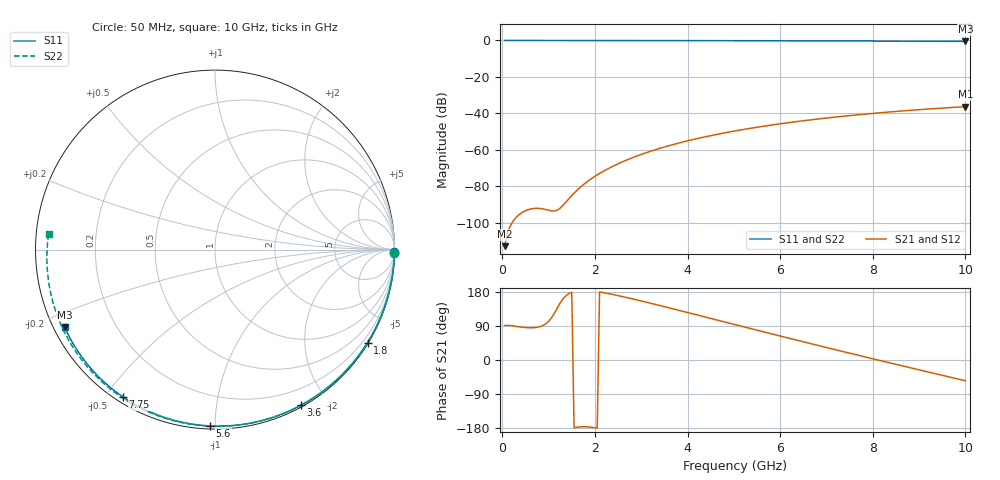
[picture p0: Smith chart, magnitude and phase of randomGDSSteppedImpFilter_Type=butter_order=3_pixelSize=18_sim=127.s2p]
! freq	dB(S11)	phase(S11)	dB(S12)	phase(S12)
!  dB(S21)	phase(S21)	dB(S22)	phase(S22)
!S-par simulation data
#  GHz  S  DB  R 50
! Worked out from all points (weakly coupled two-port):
!   200 points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, 50 MHz to 10 GHz, reference 50 ohm
!   highest |S21| = -36.31 dB at 10 GHz (marker M1); lowest = -112.8 dB at 50 MHz (marker M2)
!   lowest |S11| = -0.5 dB at 10 GHz (marker M3), VSWR 33.67, Z = 1.57 - j12.1 ohm
!   |S11| at or under -10 dB: nowhere
!   |S22| runs from -0.6 to 0.0 dB; largest |S21 - S12| = 0
!   S11 on the Smith chart (normalised r, x): 50 MHz: open; 1.8 GHz: 0.03, -3.56; 3.6 GHz: 0.02, -1.70; 5.6 GHz: 0.02, -0.97; 7.75 GHz: 0.02, -0.55; 10 GHz: 0.03, -0.24
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0.05  -0.00 -0.9  -112.77 91.0  -112.77 91.0  -0.00 -1.0
0.45  -0.01 -8.0  -93.99 86.2  -93.99 86.2  -0.01 -9.2
0.85  -0.02 -15.0  -92.22 89.7  -92.22 89.7  -0.02 -17.3
1.25  -0.03 -21.9  -91.90 150.6  -91.90 150.6  -0.03 -25.3
1.7  -0.04 -29.6  -80.14 -176.4  -80.14 -176.4  -0.04 -34.1
1.75  -0.04 -30.5  -79.08 -176.3  -79.08 -176.3  -0.04 -35.1
1.8  -0.04 -31.3  -78.07 -176.4  -78.07 -176.4  -0.05 -36.1
2.1  -0.05 -36.4  -72.90 179.5  -72.90 179.5  -0.05 -42.0
2.5  -0.06 -43.1  -67.60 170.0  -67.60 170.0  -0.06 -49.7
2.9  -0.06 -49.7  -63.40 158.8  -63.40 158.8  -0.07 -57.3
3.4  -0.08 -57.9  -59.15 143.8  -59.15 143.8  -0.09 -66.6
3.6  -0.08 -61.1  -57.67 137.7  -57.67 137.7  -0.09 -70.3
4.3  -0.10 -72.0  -53.26 116.0  -53.26 116.0  -0.12 -83.0
5.05  -0.13 -83.4  -49.49 92.6  -49.49 92.6  -0.15 -96.2
5.6  -0.15 -91.6  -47.17 75.6  -47.17 75.6  -0.18 -105.8
6.15  -0.18 -99.5  -45.16 58.7  -45.16 58.7  -0.21 -115.2
6.7  -0.21 -107.3  -43.39 42.0  -43.39 42.0  -0.25 -124.6
7.75  -0.28 -121.9  -40.57 10.6  -40.57 10.6  -0.33 -142.7
8.35  -0.33 -130.1  -39.22 -7.1  -39.22 -7.1  -0.40 -153.3
9.2  -0.42 -141.8  -37.58 -31.8  -37.58 -31.8  -0.50 -169.1
9.6  -0.47 -147.2  -36.91 -43.3  -36.91 -43.3  -0.56 -177.0
10  -0.52 -152.8  -36.31 -54.8  -36.31 -54.8  -0.62 174.7
